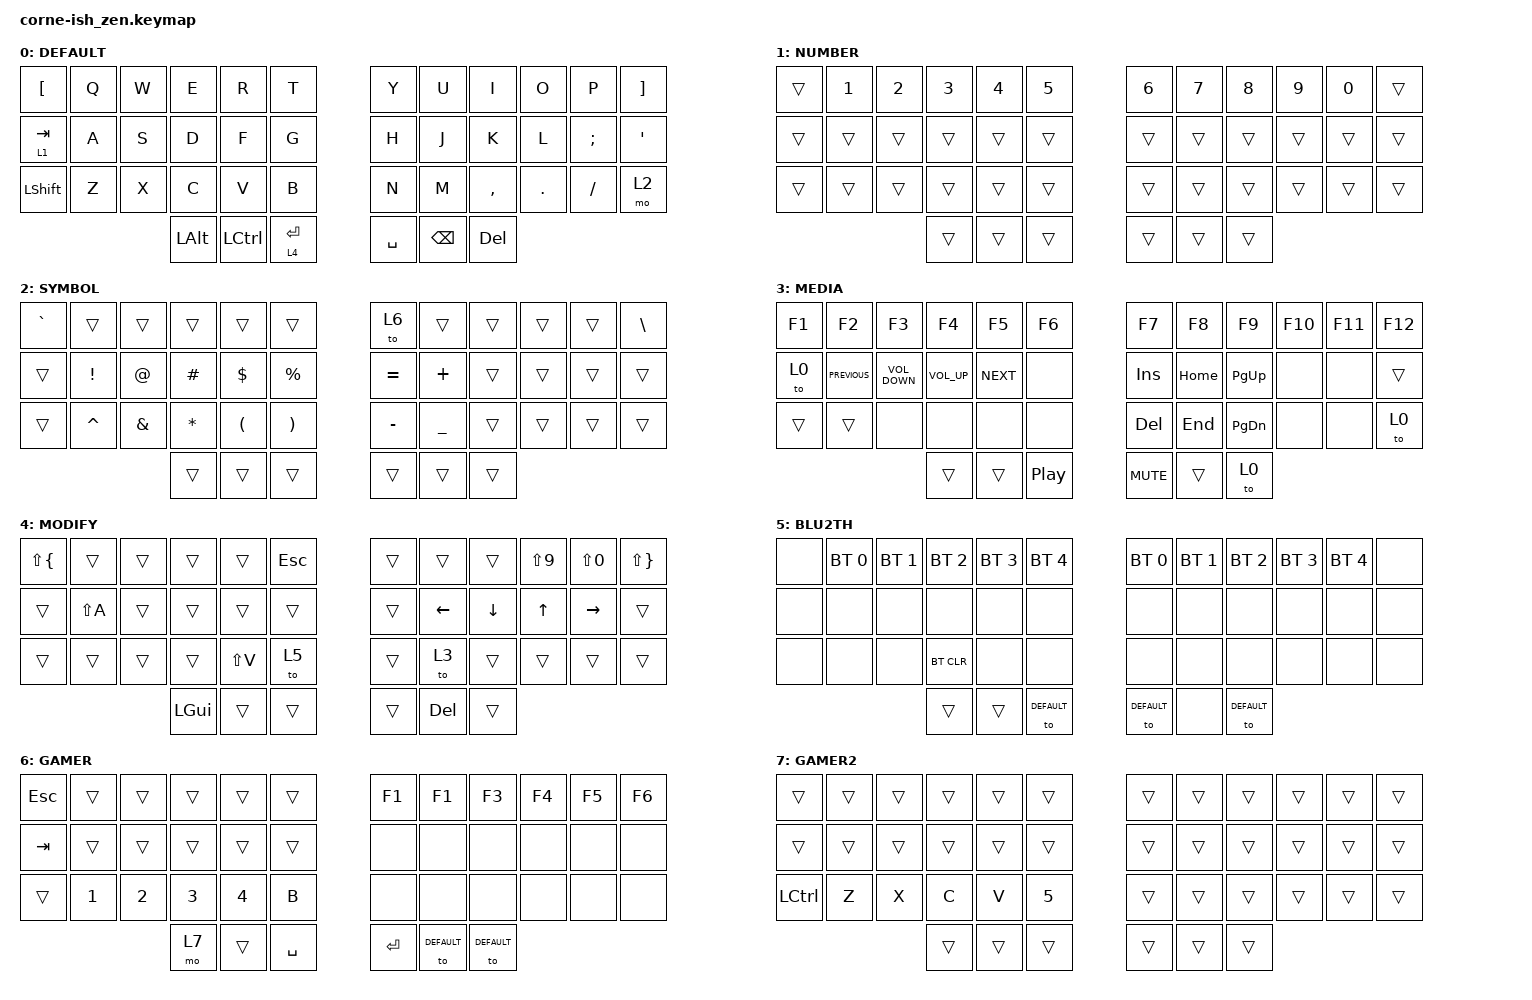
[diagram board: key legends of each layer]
/*
*
* Copyright (c) 2021 lowprokb.ca
* SPDX-License-Identifier: MIT
*
*/

#include <behaviors.dtsi>
#include <dt-bindings/zmk/keys.h>
#include <dt-bindings/zmk/bt.h>

#define DEFAULT 0
#define NUMBERS 1
#define SYMBOLS 2
#define MEDIA 3
#define MODIFY 4
#define BLUETOOTH 5

&lt {
    flavor = "hold-preferred";
};

/ {
    keymap {
            compatible = "zmk,keymap";

         layer0 {
                label = "DEFAULT";
              bindings = <
  &kp LEFT_BRACKET  &kp Q  &kp W  &kp E         &kp R        &kp T        &kp Y          &kp U       &kp I          &kp O    &kp P          &kp RIGHT_BRACKET
  &lt 1 TAB         &kp A  &kp S  &kp D         &kp F        &kp G        &kp H          &kp J       &kp K          &kp L    &kp SEMICOLON  &kp SINGLE_QUOTE
  &kp LEFT_SHIFT    &kp Z  &kp X  &kp C         &kp V        &kp B        &kp N          &kp M       &kp COMMA      &kp DOT  &kp SLASH      &mo 2
                                  &kp LEFT_ALT  &kp LCTRL    &lt 4 ENTER  &kp SPACE      &kp BACKSPACE  &kp DELETE  
              >;
          };
  
          layer1 {
                label = "NUMBER";
              bindings = <
  &trans  &kp N1  &kp N2  &kp N3  &kp N4  &kp N5    &kp N6  &kp N7  &kp N8  &kp N9  &kp N0  &trans
  &trans  &trans  &trans  &trans  &trans  &trans    &trans  &trans  &trans  &trans  &trans  &trans
  &trans  &trans  &trans  &trans  &trans  &trans    &trans  &trans  &trans  &trans  &trans  &trans
                          &trans  &trans  &trans    &trans  &trans  &trans
              >;
          };
  
          layer2 {
                label = "SYMBOL";
              bindings = <
  &kp GRAVE  &trans     &trans    &trans    &trans    &trans       &to 6     &trans     &trans  &trans  &trans  &kp BACKSLASH
  &trans     &kp EXCL   &kp AT    &kp HASH  &kp DLLR  &kp PRCNT    &kp EQUAL  &kp PLUS   &trans  &trans  &trans  &trans
  &trans     &kp CARET  &kp AMPS  &kp STAR  &kp LPAR  &kp RPAR     &kp MINUS  &kp UNDER  &trans  &trans  &trans  &trans
                                  &trans    &trans    &trans       &trans     &trans     &trans
              >;
          };
  
          layer3 {
                label = "MEDIA";
              bindings = <
  &kp F1  &kp F2          &kp F3             &kp F4           &kp F5      &kp F6              &kp F7      &kp F8    &kp F9         &kp F10  &kp F11  &kp F12
  &to 0   &kp C_PREVIOUS  &kp C_VOLUME_DOWN  &kp C_VOLUME_UP  &kp C_NEXT  &none               &kp INSERT  &kp HOME  &kp PAGE_UP    &none    &none    &trans
  &trans  &trans          &none              &none            &none       &none               &kp DELETE  &kp END   &kp PAGE_DOWN  &none    &none    &to 0
                                             &trans           &trans      &kp C_PLAY_PAUSE    &kp C_MUTE  &trans    &to 0
              >;
          };
  
          layer4 {
                label = "MODIFY";
              bindings = <
  &kp LS(LBRC)  &trans     &trans  &trans        &trans     &kp ESCAPE    &trans  &trans          &trans    &kp LS(N9)        &kp LS(N0)     &kp LS(RBRC)
  &trans    &kp LS(A)  &trans  &trans        &trans     &trans        &trans  &kp LEFT_ARROW  &kp DOWN  &kp UP_ARROW  &kp RIGHT  &trans
  &trans    &trans     &trans  &trans        &kp LS(V)  &to 5         &trans  &to 3           &trans    &trans        &trans     &trans
                               &kp LEFT_GUI  &trans     &trans        &trans  &kp DEL         &trans
              >;
          };
               
               
                 layer5 {
                        label = "BLU2TH";
                        bindings = <
   &none  &bt BT_SEL 0 &bt BT_SEL 1 &bt BT_SEL 2 &bt BT_SEL 3 &bt BT_SEL 4    &bt BT_SEL 0 &bt BT_SEL 1 &bt BT_SEL 2 &bt BT_SEL 3 &bt BT_SEL 4 &none
   &none  &none  &none  &none  &none  &none    &none  &none  &none  &none  &none  &none
   &none  &none  &none  &bt BT_CLR  &none  &none    &none  &none  &none  &none  &none  &none
                  &trans &trans &to DEFAULT    &to DEFAULT &none &to DEFAULT
                        >;
                };



                layer6 {
                        label = "GAMER";
                        bindings = <
   &kp ESC  &trans &trans  &trans  &trans &trans    &kp F1      &kp F1      &kp F3       &kp F4      &kp F5      &kp F6
   &kp TAB  &trans &trans  &trans  &trans &trans    &none  &none  &none  &none  &none  &none
   &trans  &kp N1  &kp N2  &kp N3  &kp N4  &kp B   &none  &none  &none  &none  &none  &none
                  &mo 7 &trans &kp SPACE            &kp ENTER &to DEFAULT &to DEFAULT
                        >;
                };


        layer7 {
                label = "GAMER2";
              bindings = <
  &trans    &trans     &trans   &trans    &trans     &trans        &trans    &trans     &trans  &trans    &trans     &trans
  &trans    &trans      &trans  &trans    &trans     &trans   &trans    &trans     &trans  &trans    &trans     &trans
  &kp LCTRL &kp Z       &kp X    &kp C    &kp V      &kp N5     &trans    &trans     &trans  &trans    &trans     &trans
                               &trans  &trans     &trans        &trans      &trans         &trans
              >;
          };
    };
};
